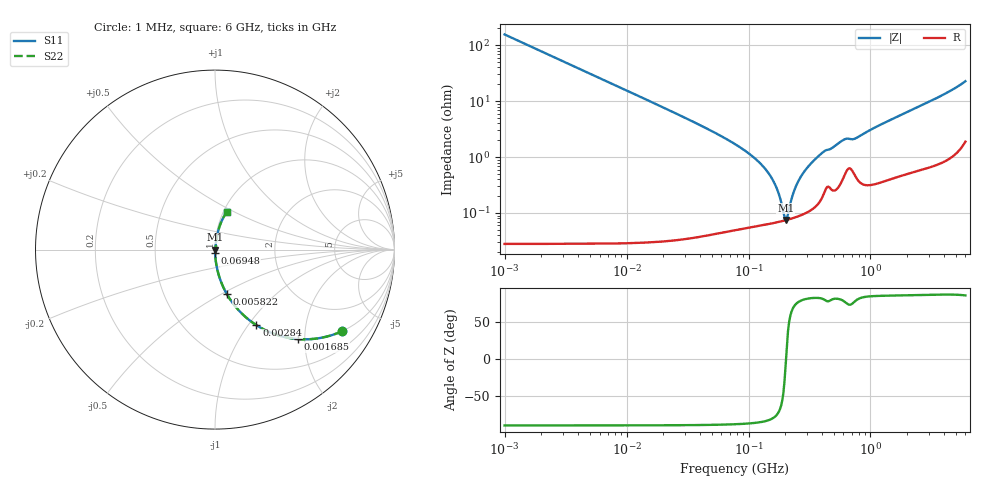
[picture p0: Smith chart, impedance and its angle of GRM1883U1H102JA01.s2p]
!Murata Part Number: GRM1883U1H102JA01
!These Parameters are Measured in Series Mode Connection
!Data Generated on Mar 30, 2021
!  o--ll--o
!Port1  Port2
!  o------o
!Operation Temp=25[degC], DC Bias Voltage=0[V]
!Freq. Start=1000[kHz] Stop=6[GHz] 401[Steps]
# Hz S RI R 50
!Freq.(Hz) S11(Real) S11(Imag) S21(Real) S21(Imag) S12(Real) S12(Imag) S22(Real) S22(Imag)
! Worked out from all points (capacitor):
!   401 points, 1 MHz to 6 GHz, reference 50 ohm
!   read as one part in series: C = 1.02 nF near 1.044 MHz
!   lowest |Z| = 74.9 mohm at 201.7 MHz (marker M1)
!   series resonance near 202.9 MHz, so ESL is about 600 pH
!   S11 on the Smith chart (normalised r, x): 1 MHz: 1.00, -3.11; 1.685 MHz: 1.00, -1.85; 2.84 MHz: 1.00, -1.10; 5.822 MHz: 1.00, -0.53; 69.48 MHz: 1.00, -0.04; 6 GHz: 1.04, +0.45
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1000000  0.708 -0.4546  0.292 0.4546  0.292 0.4546  0.708 -0.4546
1685346  0.4605 -0.4983  0.5395 0.4983  0.5395 0.4983  0.4605 -0.4983
2840391  0.2311 -0.4213  0.7689 0.4213  0.7689 0.4213  0.2311 -0.4213
4293785  0.1163 -0.3202  0.8837 0.3202  0.8837 0.3202  0.1163 -0.3202
5822046  0.0669 -0.2493  0.9331 0.2493  0.9331 0.2493  0.0669 -0.2493
1.843659e7  0.00725 -0.0831  0.9927 0.0831  0.9927 0.0831  0.00725 -0.0831
6.947823e7  0.000857 -0.0196  0.9991 0.0196  0.9991 0.0196  0.000857 -0.0196
7.745967e7  0.000783 -0.017  0.9992 0.017  0.9992 0.017  0.000783 -0.017
1.121107e8  0.000662 -0.00957  0.9993 0.00957  0.9993 0.00957  0.000662 -0.00957
1.455431e8  0.00066 -0.00515  0.9993 0.00515  0.9993 0.00515  0.00066 -0.00515
1.694764e8  0.000686 -0.00276  0.9993 0.00276  0.9993 0.00276  0.000686 -0.00276
1.930997e8  0.000726 -0.000755  0.9993 0.000755  0.9993 0.000755  0.000726 -0.000755
2.016844e8  0.000743 -9.11e-05  0.9993 9.11e-05  0.9993 9.11e-05  0.000743 -9.11e-05
2.106508e8  0.000763 0.000573  0.9992 -0.000573  0.9992 -0.000573  0.000763 0.000573
2.297971e8  0.00081 0.00191  0.9992 -0.00191  0.9992 -0.00191  0.00081 0.00191
2.506837e8  0.000871 0.00327  0.9991 -0.00327  0.9991 -0.00327  0.000871 0.00327
3.325952e8  0.00123 0.008  0.9988 -0.008  0.9988 -0.008  0.00123 0.008
4.133993e8  0.00233 0.0123  0.9977 -0.0123  0.9977 -0.0123  0.00233 0.0123
5.983305e8  0.00457 0.0196  0.9954 -0.0196  0.9954 -0.0196  0.00457 0.0196
7.600468e8  0.00477 0.0211  0.9952 -0.0211  0.9952 -0.0211  0.00477 0.0211
1.428092e9  0.00593 0.0446  0.9941 -0.0446  0.9941 -0.0446  0.00593 0.0446
6e9  0.0648 0.208  0.9352 -0.208  0.9352 -0.208  0.0648 0.208
